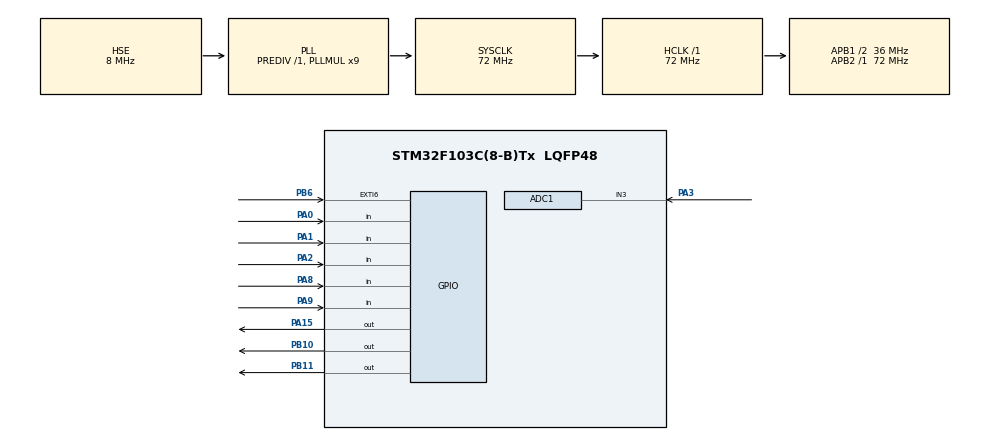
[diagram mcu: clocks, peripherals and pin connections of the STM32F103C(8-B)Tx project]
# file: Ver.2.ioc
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ADC1.Channel-0\#ChannelRegularConversion=ADC_CHANNEL_VREFINT
ADC1.Channel-1\#ChannelRegularConversion=ADC_CHANNEL_3
ADC1.ContinuousConvMode=DISABLE
ADC1.NbrOfConversion=2
ADC1.NbrOfConversionFlag=1
ADC1.Rank-0\#ChannelRegularConversion=1
ADC1.Rank-1\#ChannelRegularConversion=2
ADC1.SamplingTime-0\#ChannelRegularConversion=ADC_SAMPLETIME_55CYCLES_5
ADC1.SamplingTime-1\#ChannelRegularConversion=ADC_SAMPLETIME_55CYCLES_5
ADC1.master=1
Dma.ADC1.0.Direction=DMA_PERIPH_TO_MEMORY
Dma.ADC1.0.Instance=DMA1_Channel1
Dma.ADC1.0.MemDataAlignment=DMA_MDATAALIGN_HALFWORD
Dma.ADC1.0.MemInc=DMA_MINC_ENABLE
Dma.ADC1.0.Mode=DMA_CIRCULAR
Dma.ADC1.0.PeriphDataAlignment=DMA_PDATAALIGN_HALFWORD
Dma.ADC1.0.PeriphInc=DMA_PINC_DISABLE
Dma.ADC1.0.Priority=DMA_PRIORITY_LOW
Dma.Request0=ADC1
FREERTOS.Queues01=data_into_Queue,16,Device_Queue_t,0,Dynamic,NULL,NULL;data_output_Queue,16,Device_Queue_t,0,Dynamic,NULL,NULL
FREERTOS.Tasks01=key,24,128,Start_KeyTask,As weak,NULL,Dynamic,NULL,NULL;into_device_Tas,24,128,data_into_device_Task,As weak,NULL,Dynamic,NULL,NULL;output_devic_Ta,16,128,data_output_device_Task,As weak,NULL,Dynamic,NULL,NULL
Mcu.Family=STM32F1
Mcu.Name=STM32F103C(8-B)Tx
Mcu.Package=LQFP48
NVIC.DMA1_Channel1_IRQn=true\:5\:0\:false\:false\:true\:true\:false\:true\:true
NVIC.EXTI9_5_IRQn=true\:6\:0\:true\:false\:true\:true\:true\:true\:true
NVIC.PriorityGroup=NVIC_PRIORITYGROUP_4
NVIC.TIM3_IRQn=true\:5\:0\:true\:false\:true\:true\:true\:true\:true
NVIC.TIM4_IRQn=true\:15\:0\:false\:false\:true\:false\:false\:true\:true
NVIC.TimeBase=TIM4_IRQn
NVIC.TimeBaseIP=TIM4
PA0-WKUP.Signal=GPIO_Input
PA1.Signal=GPIO_Input
PA13.Mode=Serial_Wire
PA13.Signal=SYS_JTMS-SWDIO
PA14.Mode=Serial_Wire
PA14.Signal=SYS_JTCK-SWCLK
PA15.Signal=GPIO_Output
PA2.GPIO_PuPd=GPIO_PULLUP
PA2.Signal=GPIO_Input
PA3.Signal=ADCx_IN3
PA8.Signal=GPIO_Input
PA9.Signal=GPIO_Input
PB10.GPIO_ModeDefaultOutputPP=GPIO_MODE_OUTPUT_OD
PB10.GPIO_PuPd=GPIO_NOPULL
PB10.PinState=GPIO_PIN_SET
PB10.Signal=GPIO_Output
PB11.GPIO_ModeDefaultOutputPP=GPIO_MODE_OUTPUT_OD
PB11.GPIO_PuPd=GPIO_NOPULL
PB11.PinState=GPIO_PIN_SET
PB11.Signal=GPIO_Output
PB6.GPIO_ModeDefaultEXTI=GPIO_MODE_IT_FALLING
PB6.Signal=GPXTI6
PD0-OSC_IN.Mode=HSE-External-Oscillator
PD0-OSC_IN.Signal=RCC_OSC_IN
PD1-OSC_OUT.Mode=HSE-External-Oscillator
PD1-OSC_OUT.Signal=RCC_OSC_OUT
ProjectManager.HeapSize=0x200
ProjectManager.StackSize=0x400
ProjectManager.TargetToolchain=CMake
RCC.ADCPresc=RCC_ADCPCLK2_DIV6
RCC.AHBFreq_Value=72000000
RCC.APB1CLKDivider=RCC_HCLK_DIV2
RCC.APB1Freq_Value=36000000
RCC.APB1TimFreq_Value=72000000
RCC.APB2Freq_Value=72000000
RCC.APB2TimFreq_Value=72000000
RCC.HCLKFreq_Value=72000000
RCC.PLLMUL=RCC_PLL_MUL9
RCC.PLLSourceVirtual=RCC_PLLSOURCE_HSE
RCC.SYSCLKFreq_VALUE=72000000
RCC.SYSCLKSource=RCC_SYSCLKSOURCE_PLLCLK
RCC.USBFreq_Value=72000000
SH.ADCx_IN3.0=ADC2_IN3
SH.ADCx_IN3.1=ADC1_IN3,IN3
TIM3.AutoReloadPreload=TIM_AUTORELOAD_PRELOAD_ENABLE
TIM3.Period=499
TIM3.Prescaler=7199
TIM3.TIM_MasterOutputTrigger=TIM_TRGO_RESET
VP_ADC1_Vref_Input.Mode=IN-Vrefint
VP_FREERTOS_VS_CMSIS_V2.Mode=CMSIS_V2
VP_SYS_VS_tim4.Mode=TIM4
VP_TIM3_VS_ClockSourceINT.Mode=Internal
board=custom

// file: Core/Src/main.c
/* USER CODE BEGIN Header */
/**
  ******************************************************************************
  * @file           : main.c
  * @brief          : Main program body
  ******************************************************************************
  * @attention
  *
  * Copyright (c) 2026 STMicroelectronics.
  * All rights reserved.
  *
  * This software is licensed under terms that can be found in the LICENSE file
  * in the root directory of this software component.
  * If no LICENSE file comes with this software, it is provided AS-IS.
  *
  ******************************************************************************
  */
/* USER CODE END Header */
#include "main.h"
#include "cmsis_os.h"
#include "adc.h"
#include "dma.h"
#include "tim.h"
#include "gpio.h"

/* USER CODE BEGIN Includes */
//#include "Battery.h"

#include <stdio.h>

#include "Battery.h"
#include "delay.h"
#include "device_state.h"
#include "key.h"
#include "E18_D80NK.h"
#include "TM1650.h"
/* USER CODE END Includes */

void SystemClock_Config(void);
void MX_FREERTOS_Init(void);

/* USER CODE BEGIN 0 */

void HAL_ADC_ConvCpltCallback(ADC_HandleTypeDef* hadc)
{
    Battery_IRQHandler(hadc);
}

void HAL_GPIO_EXTI_Callback(uint16_t GPIO_Pin)
{
  E18_RaceFinished(GPIO_Pin);
}

/* USER CODE END 0 */

int main(void)
{

  /* MCU Configuration--------------------------------------------------------*/

  /* Reset of all peripherals, Initializes the Flash interface and the Systick. */
  HAL_Init();

  /* Configure the system clock */
  SystemClock_Config();

  /* Initialize all configured peripherals */
  MX_GPIO_Init();
  MX_DMA_Init();
  MX_TIM3_Init();
  MX_ADC1_Init();
  /* USER CODE BEGIN 2 */
  HAL_Delay(100);
  DWT_Delay_Init();

  TM1650_Init(TM1650_BRIGHTNESS_7);
  ADC_Battery_Init();
  buttons_init();

  TimingMode_t  mode = (TimingMode_t) HAL_GPIO_ReadPin(GPIOA, GPIO_PIN_0);
  uint8_t count = HAL_GPIO_ReadPin(GPIOA, GPIO_PIN_1) ? 2 : 1;
  DeviceData_Init(mode,count);

  HAL_TIM_Base_Start_IT(&htim3);

  /* USER CODE END 2 */

  /* Init scheduler */
  osKernelInitialize();  /* Call init function for freertos objects (in cmsis_os2.c) */
  MX_FREERTOS_Init();

  /* Start scheduler */
  osKernelStart();

  /* We should never get here as control is now taken by the scheduler */

  /* Infinite loop */
  while (1)
  {

  }
}

void SystemClock_Config(void)
{
  RCC_OscInitTypeDef RCC_OscInitStruct = {0};
  RCC_ClkInitTypeDef RCC_ClkInitStruct = {0};
  RCC_PeriphCLKInitTypeDef PeriphClkInit = {0};

  /** Initializes the RCC Oscillators according to the specified parameters
  * in the RCC_OscInitTypeDef structure.
  */
  RCC_OscInitStruct.OscillatorType = RCC_OSCILLATORTYPE_HSE;
  RCC_OscInitStruct.HSEState = RCC_HSE_ON;
  RCC_OscInitStruct.HSEPredivValue = RCC_HSE_PREDIV_DIV1;
  RCC_OscInitStruct.HSIState = RCC_HSI_ON;
  RCC_OscInitStruct.PLL.PLLState = RCC_PLL_ON;
  RCC_OscInitStruct.PLL.PLLSource = RCC_PLLSOURCE_HSE;
  RCC_OscInitStruct.PLL.PLLMUL = RCC_PLL_MUL9;
  if (HAL_RCC_OscConfig(&RCC_OscInitStruct) != HAL_OK)
  {
    Error_Handler();
  }

  /** Initializes the CPU, AHB and APB buses clocks
  */
  RCC_ClkInitStruct.ClockType = RCC_CLOCKTYPE_HCLK|RCC_CLOCKTYPE_SYSCLK
                              |RCC_CLOCKTYPE_PCLK1|RCC_CLOCKTYPE_PCLK2;
  RCC_ClkInitStruct.SYSCLKSource = RCC_SYSCLKSOURCE_PLLCLK;
  RCC_ClkInitStruct.AHBCLKDivider = RCC_SYSCLK_DIV1;
  RCC_ClkInitStruct.APB1CLKDivider = RCC_HCLK_DIV2;
  RCC_ClkInitStruct.APB2CLKDivider = RCC_HCLK_DIV1;

  if (HAL_RCC_ClockConfig(&RCC_ClkInitStruct, FLASH_LATENCY_2) != HAL_OK)
  {
    Error_Handler();
  }
  PeriphClkInit.PeriphClockSelection = RCC_PERIPHCLK_ADC;
  PeriphClkInit.AdcClockSelection = RCC_ADCPCLK2_DIV6;
  if (HAL_RCCEx_PeriphCLKConfig(&PeriphClkInit) != HAL_OK)
  {
    Error_Handler();
  }
}

/* USER CODE BEGIN 4 */
Device_Queue_t device = {
  .device = TIMER,
  .data.time = 1
};
/* USER CODE END 4 */

void HAL_TIM_PeriodElapsedCallback(TIM_HandleTypeDef *htim)
{
  /* USER CODE BEGIN Callback 0 */
  if (htim->Instance == TIM3)
  {
    osMessageQueuePut(data_into_QueueHandle,&device,0,0);
  }
  /* USER CODE END Callback 0 */
  if (htim->Instance == TIM4)
  {
    HAL_IncTick();
  }
}

void Error_Handler(void)
{
  __disable_irq();
  while (1)
  {
  }
}

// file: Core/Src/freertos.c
/* USER CODE BEGIN Header */
/**
  ******************************************************************************
  * File Name          : freertos.c
  * Description        : Code for freertos applications
  ******************************************************************************
  * @attention
  *
  * Copyright (c) 2026 STMicroelectronics.
  * All rights reserved.
  *
  * This software is licensed under terms that can be found in the LICENSE file
  * in the root directory of this software component.
  * If no LICENSE file comes with this software, it is provided AS-IS.
  *
  ******************************************************************************
  */
/* USER CODE END Header */

#include "FreeRTOS.h"
#include "task.h"
#include "main.h"
#include "cmsis_os.h"

/* USER CODE BEGIN Includes */
#include "device_state.h"
/* USER CODE END Includes */

/* Definitions for key */
osThreadId_t keyHandle;
const osThreadAttr_t key_attributes = {
  .name = "key",
  .stack_size = 128 * 4,
  .priority = (osPriority_t) osPriorityNormal,
};
/* Definitions for into_device_Tas */
osThreadId_t into_device_TasHandle;
const osThreadAttr_t into_device_Tas_attributes = {
  .name = "into_device_Tas",
  .stack_size = 128 * 4,
  .priority = (osPriority_t) osPriorityNormal,
};
/* Definitions for output_devic_Ta */
osThreadId_t output_devic_TaHandle;
const osThreadAttr_t output_devic_Ta_attributes = {
  .name = "output_devic_Ta",
  .stack_size = 128 * 4,
  .priority = (osPriority_t) osPriorityBelowNormal,
};
/* Definitions for data_into_Queue */
osMessageQueueId_t data_into_QueueHandle;
const osMessageQueueAttr_t data_into_Queue_attributes = {
  .name = "data_into_Queue"
};
/* Definitions for data_output_Queue */
osMessageQueueId_t data_output_QueueHandle;
const osMessageQueueAttr_t data_output_Queue_attributes = {
  .name = "data_output_Queue"
};

void Start_KeyTask(void *argument);
void data_into_device_Task(void *argument);
void data_output_device_Task(void *argument);

void MX_FREERTOS_Init(void); /* (MISRA C 2004 rule 8.1) */

void MX_FREERTOS_Init(void) {

  /* Create the queue(s) */
  /* creation of data_into_Queue */
  data_into_QueueHandle = osMessageQueueNew (16, sizeof(Device_Queue_t), &data_into_Queue_attributes);

  /* creation of data_output_Queue */
  data_output_QueueHandle = osMessageQueueNew (16, sizeof(Device_Queue_t), &data_output_Queue_attributes);

  /* Create the thread(s) */
  /* creation of key */
  keyHandle = osThreadNew(Start_KeyTask, NULL, &key_attributes);

  /* creation of into_device_Tas */
  into_device_TasHandle = osThreadNew(data_into_device_Task, NULL, &into_device_Tas_attributes);

  /* creation of output_devic_Ta */
  output_devic_TaHandle = osThreadNew(data_output_device_Task, NULL, &output_devic_Ta_attributes);

}

__weak void Start_KeyTask(void *argument)
{
  /* USER CODE BEGIN Start_KeyTask */
  /* Infinite loop */
  for(;;)
  {

    osDelay(10);
  }
  /* USER CODE END Start_KeyTask */
}

__weak void data_into_device_Task(void *argument)
{
  for(;;)
  {
    osDelay(1);
  }
}

__weak void data_output_device_Task(void *argument)
{
  for(;;)
  {
    osDelay(1);
  }
}
